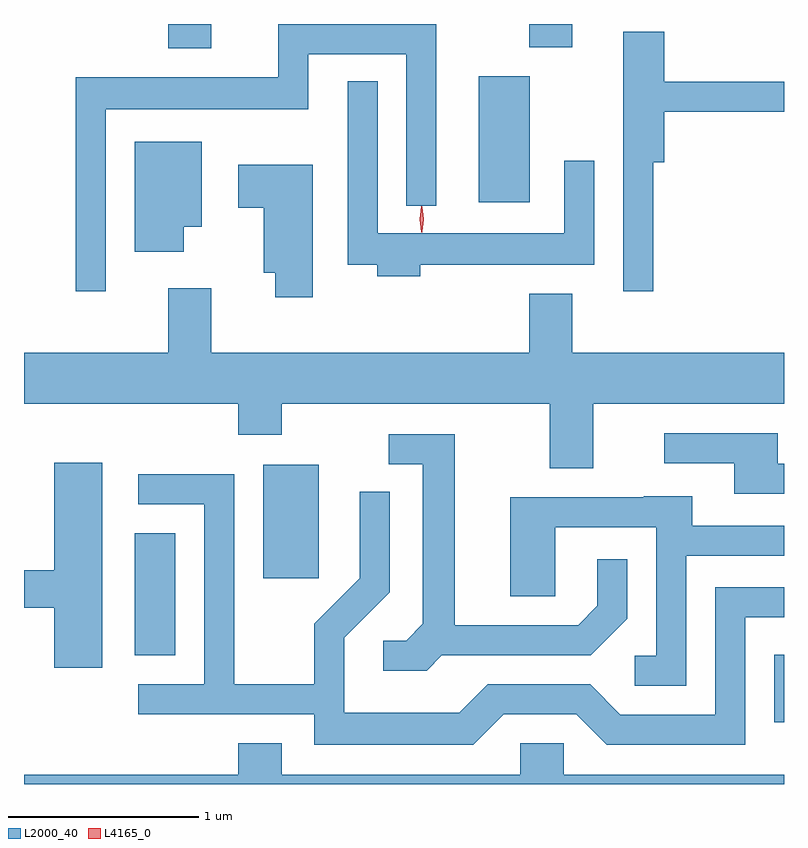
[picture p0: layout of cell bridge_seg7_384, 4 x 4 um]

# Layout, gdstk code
import gdstk
lib = gdstk.Library(unit=1e-6, precision=1e-09)
def R(c, l, rs):  # rectangles x0, y0, x1, y1
    for r in rs: c.add(gdstk.rectangle(r[:2], r[2:], *l))
def P(c, l, *ps):  # polygons
    for p in ps: c.add(gdstk.Polygon(p, *l))
L2000_40 = (2000, 40)
L4165_0 = (4165, 0)

bridge_seg7_384 = lib.new_cell('bridge_seg7_384')
R(bridge_seg7_384, L2000_40, [(1150.321,1750.378,1150.373,1750.734), (1146.956,1750.731,1147.169,1751.374), (1147.631,1751.136,1147.924,1751.734), (1148.766,1753.116,1149.034,1753.779), (1147.131,1753.926,1147.359,1754.054), (1149.031,1753.931,1149.259,1754.054)])
P(bridge_seg7_384, L2000_40, [(1146.804,1753.606),(1147.869,1753.606),(1147.869,1753.896),(1148.386,1753.896),(1148.386,1753.098),(1148.544,1753.098),(1148.544,1754.054),(1147.711,1754.054),(1147.711,1753.774),(1146.646,1753.774),(1146.646,1752.648),(1146.804,1752.648)],
  [(1149.684,1753.326),(1149.744,1753.326),(1149.744,1753.591),(1150.373,1753.591),(1150.373,1753.749),(1149.744,1753.749),(1149.744,1754.014),(1149.526,1754.014),(1149.526,1752.648),(1149.684,1752.648)],
  [(1148.459,1752.786),(1149.374,1752.786),(1149.374,1753.333),(1149.216,1753.333),(1149.216,1752.954),(1148.234,1752.954),(1148.234,1753.753),(1148.076,1753.753),(1148.076,1752.786),(1148.231,1752.786),(1148.231,1752.726),(1148.459,1752.726)],
  [(1147.214,1752.986),(1147.309,1752.986),(1147.309,1753.434),(1146.956,1753.434),(1146.956,1752.856),(1147.214,1752.856)],
  [(1147.894,1753.314),(1147.501,1753.314),(1147.501,1753.086),(1147.636,1753.086),(1147.636,1752.746),(1147.696,1752.746),(1147.696,1752.616),(1147.894,1752.616)],
  [(1149.369,1752.056),(1150.373,1752.056),(1150.373,1752.324),(1149.259,1752.324),(1149.259,1752.634),(1149.031,1752.634),(1149.031,1752.324),(1147.359,1752.324),(1147.359,1752.664),(1147.131,1752.664),(1147.131,1752.324),(1146.373,1752.324),(1146.373,1752.056),(1147.501,1752.056),(1147.501,1751.891),(1147.729,1751.891),(1147.729,1752.056),(1149.141,1752.056),(1149.141,1751.716),(1149.369,1751.716)],
  [(1150.373,1751.739),(1150.339,1751.739),(1150.339,1751.899),(1149.743,1751.899),(1149.743,1751.741),(1150.111,1751.741),(1150.111,1751.581),(1150.373,1751.581)],
  [(1148.572,1750.731),(1149.357,1750.731),(1149.549,1750.924),(1149.549,1751.238),(1149.391,1751.238),(1149.391,1750.992),(1149.289,1750.889),(1148.639,1750.889),(1148.639,1751.894),(1148.293,1751.894),(1148.293,1751.736),(1148.471,1751.736),(1148.471,1750.897),(1148.384,1750.809),(1148.263,1750.809),(1148.263,1750.651),(1148.492,1750.651)],
  [(1146.784,1751.744),(1146.531,1751.744),(1146.531,1751.179),(1146.373,1751.179),(1146.373,1750.981),(1146.531,1750.981),(1146.531,1750.666),(1146.784,1750.666)],
  [(1148.897,1750.421),(1149.279,1750.421),(1149.439,1750.261),(1150.169,1750.261),(1150.169,1750.931),(1150.373,1750.931),(1150.373,1751.089),(1150.011,1751.089),(1150.011,1750.419),(1149.512,1750.419),(1149.352,1750.579),(1148.814,1750.579),(1148.664,1750.429),(1148.059,1750.429),(1148.059,1750.824),(1148.299,1751.064),(1148.299,1751.593),(1148.141,1751.593),(1148.141,1751.137),(1147.901,1750.897),(1147.901,1750.579),(1147.479,1750.579),(1147.479,1751.684),(1146.973,1751.684),(1146.973,1751.526),(1147.321,1751.526),(1147.321,1750.579),(1146.973,1750.579),(1146.973,1750.421),(1147.901,1750.421),(1147.901,1750.261),(1148.737,1750.261)],
  [(1149.859,1751.256),(1150.373,1751.256),(1150.373,1751.414),(1149.889,1751.414),(1149.889,1751.569),(1149.635,1751.569),(1149.635,1751.564),(1148.931,1751.564),(1148.931,1751.041),(1149.169,1751.041),(1149.169,1751.406),(1149.701,1751.406),(1149.701,1750.729),(1149.588,1750.729),(1149.588,1750.571),(1149.859,1750.571)],
  [(1150.373,1750.104),(1149.214,1750.104),(1149.214,1750.269),(1148.986,1750.269),(1148.986,1750.104),(1147.729,1750.104),(1147.729,1750.269),(1147.501,1750.269),(1147.501,1750.104),(1146.373,1750.104),(1146.373,1750.054),(1150.373,1750.054)])
P(bridge_seg7_384, L4165_0, [(1148.465,1752.957),(1148.456,1753.027),(1148.465,1753.096),(1148.466,1753.096),(1148.466,1753.096),(1148.476,1753.027),(1148.466,1752.957),(1148.466,1752.957)],
  [(1148.468,1752.959),(1148.468,1752.96),(1148.458,1753.026),(1148.468,1753.093),(1148.468,1753.093),(1148.469,1753.093),(1148.478,1753.026),(1148.469,1752.96)])

lib.write_gds('bridge_seg7_384.gds')
